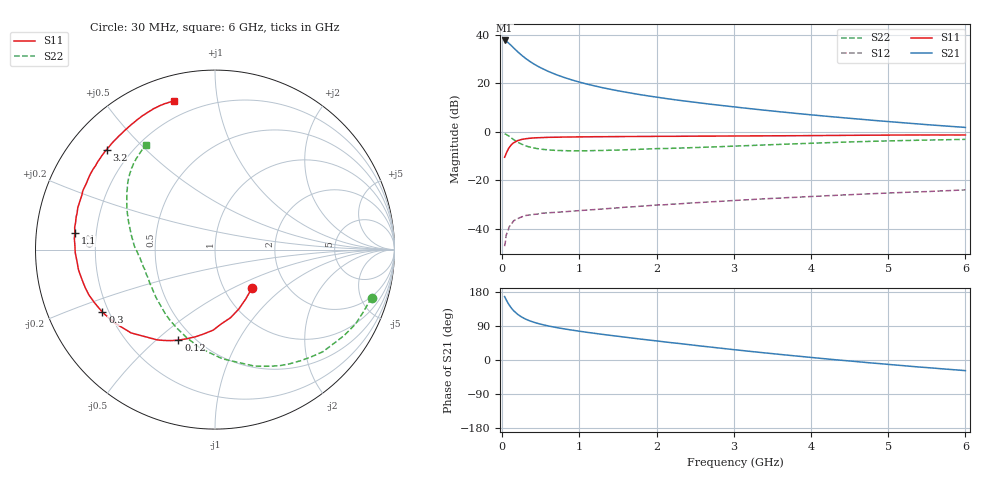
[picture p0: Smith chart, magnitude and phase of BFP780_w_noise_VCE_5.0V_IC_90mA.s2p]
! Infineon Technologies  Discrete & RF Semiconductors
! BFP780
! VCE =  5.0 V,  IC =  90 mA
! Common Emitter S-Parameters:  Jul 2015
# GHz  S  MA  R  50
!  f  S11  S21  S12  S22
! GHz  MAG  ANG  MAG  ANG  MAG  ANG  MAG  ANG
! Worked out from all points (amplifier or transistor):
!   75 points, 30 MHz to 6 GHz, reference 50 ohm
!   highest |S21| = 37.6 dB at 30 MHz (marker M1)
!   |S21| within 3 dB of that: start of sweep to 144.6 MHz
!   unconditionally stable (mu >= 1): 1.678 GHz to end of sweep
!   at 150 MHz: K = 0.20, MSG = 35.5 dB, |S12| = -36.6 dB
!   at 2.3 GHz: K = 1.14, MAG = 19.1 dB, |S12| = -29.7 dB
!   at 6 GHz: K = 1.19, MAG = 10.3 dB, |S12| = -24.0 dB
!   lowest NFmin = 1.94 dB at 450 MHz
!   S11 on the Smith chart (normalised r, x): 30 MHz: 1.34, -0.64; 120 MHz: 0.41, -0.59; 300 MHz: 0.18, -0.25; 1.1 GHz: 0.12, +0.06; 3.2 GHz: 0.11, +0.39; 6 GHz: 0.12, +0.75
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0.03  0.2981 -46.5  76.09 167.4  0.0044 60.7  0.9124 -17.1
0.05  0.3564 -68.1  73.28 159.1  0.0074 68.2  0.8855 -28.1
0.07  0.4142 -84.9  69.6 151.7  0.0086 55.2  0.8426 -38.6
0.09  0.4745 -97.7  65.36 145.0  0.0111 57.9  0.8028 -48.1
0.12  0.5442 -112.0  58.88 136.5  0.0127 51.1  0.7411 -60.7
0.15  0.5972 -122.6  52.88 129.5  0.0148 42.8  0.6846 -71.4
0.2  0.659 -135.2  44.37 120.4  0.0163 38.4  0.6095 -86.2
0.25  0.6942 -144.2  37.83 113.5  0.0176 34.3  0.5567 -98.1
0.3  0.7177 -150.9  32.64 108.1  0.0188 31.5  0.5157 -107.8
0.35  0.7338 -156.2  28.63 103.8  0.0193 29.8  0.487 -115.7
0.4  0.7464 -160.2  25.44 100.2  0.0198 28.7  0.4671 -122.4
0.5  0.7584 -166.6  20.72 94.4  0.0209 27.6  0.4381 -132.8
0.6  0.7688 -171.5  17.43 89.7  0.0215 26.7  0.4234 -141.0
0.8  0.7789 -178.8  13.17 82.2  0.0225 26.7  0.4087 -152.5
1.1  0.7863 173.2  9.576 73.0  0.0244 27.7  0.4062 -163.9
1.5  0.7951 165.0  6.989 62.6  0.0271 29.3  0.4202 -173.5
2.1  0.806 154.5  4.897 47.9  0.0313 30.7  0.452 176.5
3.1  0.8205 138.8  3.13 25.2  0.0392 29.8  0.5133 160.5
3.2  0.8219 137.3  3.008 23.0  0.0399 29.8  0.5203 159.0
4.1  0.8363 124.8  2.162 4.8  0.0471 27.0  0.5876 146.6
5.1  0.8563 113.6  1.577 -13.3  0.0556 21.6  0.654 134.5
6  0.8598 105.5  1.229 -28.1  0.0634 15.9  0.6975 123.7
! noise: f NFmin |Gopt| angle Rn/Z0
0.45  1.94  0.53  -179  0.08
0.9  1.99  0.54  -166  0.09
1.5  2.05  0.55  -159  0.1
1.8  2.22  0.56  -153  0.12
2.4  2.35  0.59  -144  0.18
3  2.63  0.6  -134  0.25
3.5  3.11  0.63  -123  0.4
